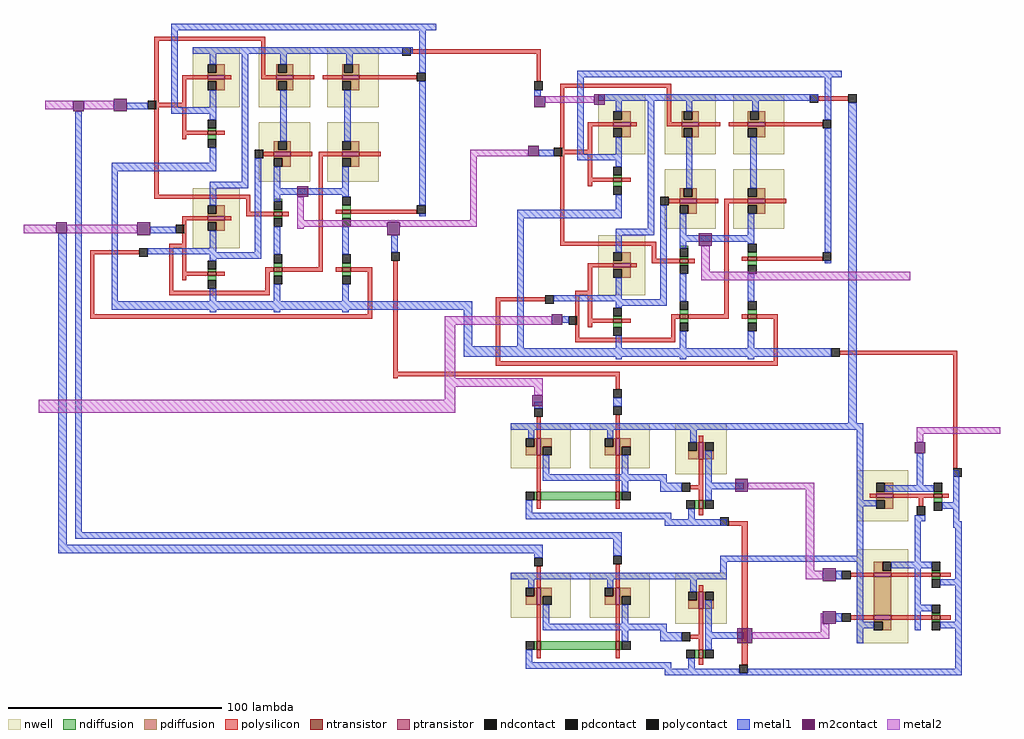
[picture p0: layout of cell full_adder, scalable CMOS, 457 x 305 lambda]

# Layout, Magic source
magic
tech scmos
<< polysilicon >>
rect -13 94 48 96
rect 46 81 48 94
rect 178 72 192 74
rect -21 -55 -19 -3
rect 188 -47 243 -45
rect -21 -57 85 -55
rect -21 -58 -19 -57
rect 83 -63 85 -57
rect 241 -100 243 -47
rect 136 -127 145 -125
rect 142 -192 145 -127
<< polycontact >>
rect -17 93 -13 97
rect 45 77 49 81
rect -136 68 -132 72
rect 174 71 178 75
rect 192 71 196 75
rect 54 46 58 50
rect -123 10 -119 14
rect -22 -3 -18 1
rect 61 -33 65 -29
rect 184 -48 188 -44
rect 82 -67 86 -63
rect 241 -104 245 -100
rect 132 -127 136 -123
rect 141 -196 145 -192
<< metal1 >>
rect 45 74 48 77
rect -146 68 -136 71
rect -178 -136 -174 10
rect -170 -130 -167 67
rect 47 46 54 49
rect -135 10 -123 13
rect -22 1 -19 9
rect -40 -26 16 -22
rect 12 -43 16 -26
rect 58 -32 61 -29
rect 12 -48 38 -43
rect 150 -48 184 -44
rect 82 -69 86 -67
rect 192 -79 196 71
rect 134 -82 199 -79
rect 196 -101 199 -82
rect -170 -133 86 -130
rect -178 -140 49 -136
rect 82 -140 86 -133
rect 132 -144 198 -141
rect 132 -149 135 -144
rect 196 -145 198 -144
rect 186 -152 187 -148
rect 135 -196 141 -194
rect 242 -194 245 -174
rect 145 -196 245 -194
rect 135 -197 245 -196
<< m2contact >>
rect -171 67 -166 72
rect -152 67 -146 73
rect 45 69 50 74
rect 73 70 78 75
rect -179 10 -174 15
rect 42 46 47 51
rect -66 27 -61 32
rect -141 9 -135 15
rect -24 9 -18 15
rect 122 4 128 10
rect 53 -33 58 -28
rect 44 -71 49 -66
rect 223 -93 228 -88
rect 139 -111 145 -105
rect 180 -153 186 -147
rect 180 -173 186 -167
rect 140 -182 147 -175
<< metal2 >>
rect -184 68 -171 72
rect -166 68 -152 72
rect 50 71 73 74
rect 15 46 42 49
rect -66 16 -63 27
rect 15 16 18 46
rect -66 15 18 16
rect -194 10 -179 14
rect -174 10 -141 14
rect -66 13 -24 15
rect -66 12 -63 13
rect -18 13 18 15
rect 123 -8 127 4
rect 123 -12 221 -8
rect 3 -33 53 -29
rect 3 -58 8 -33
rect 3 -62 49 -58
rect 3 -68 8 -62
rect 45 -66 49 -62
rect -187 -74 8 -68
rect 224 -84 263 -81
rect 224 -88 227 -84
rect 145 -110 176 -107
rect 172 -148 176 -110
rect 172 -152 180 -148
rect 179 -173 180 -168
rect 179 -177 183 -173
rect 147 -180 183 -177
use xor  xor_1
transform 1 0 114 0 1 39
box -87 -91 75 47
use xor  xor_0
transform 1 0 -76 0 1 61
box -87 -91 75 47
use and2  and2_0
transform 1 0 70 0 1 -96
box -36 -31 73 27
use and2  and2_1
transform 1 0 70 0 1 -166
box -36 -31 73 27
use or2  or2_0
transform 0 -1 228 1 0 -169
box -13 -17 76 42
<< end >>

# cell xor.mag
magic
tech scmos
<< nwell >>
rect -39 8 -17 36
rect -8 8 16 36
rect 24 8 48 36
rect -8 -27 16 1
rect 24 -27 48 1
rect -39 -58 -17 -30
<< ntransistor >>
rect -32 -5 -28 -3
rect -1 -43 3 -41
rect 31 -42 35 -40
rect -1 -69 3 -67
rect 31 -69 35 -67
rect -32 -71 -28 -69
<< ptransistor >>
rect -32 21 -24 23
rect 0 21 8 23
rect 31 21 39 23
rect -1 -15 7 -13
rect 31 -15 39 -13
rect -32 -45 -24 -43
<< ndiffusion >>
rect -32 -3 -28 -2
rect -32 -7 -28 -5
rect -1 -36 3 -35
rect -1 -41 3 -40
rect -1 -44 3 -43
rect -1 -67 3 -65
rect 31 -40 35 -38
rect 31 -44 35 -42
rect 31 -67 35 -65
rect -32 -69 -28 -68
rect -32 -73 -28 -71
rect -1 -71 3 -69
rect 31 -71 35 -69
<< pdiffusion >>
rect -28 24 -24 28
rect -32 23 -24 24
rect 0 24 1 28
rect 5 24 8 28
rect 0 23 8 24
rect 31 24 32 28
rect 36 24 39 28
rect 31 23 39 24
rect -32 20 -24 21
rect -28 16 -24 20
rect 0 20 8 21
rect 0 16 1 20
rect 5 16 8 20
rect 31 20 39 21
rect 35 16 39 20
rect -1 -12 1 -8
rect 5 -12 7 -8
rect -1 -13 7 -12
rect 35 -12 39 -8
rect 31 -13 39 -12
rect -1 -16 7 -15
rect 3 -20 7 -16
rect -28 -42 -24 -38
rect -32 -43 -24 -42
rect -32 -46 -24 -45
rect -28 -50 -24 -46
rect 31 -16 39 -15
rect 35 -20 39 -16
<< ndcontact >>
rect -32 -2 -28 2
rect -32 -11 -28 -7
rect -1 -40 3 -36
rect -1 -48 3 -44
rect -32 -68 -28 -64
rect -1 -65 3 -61
rect 31 -38 35 -34
rect 31 -48 35 -44
rect 31 -65 35 -61
rect -32 -77 -28 -73
rect -1 -75 3 -71
rect 31 -75 35 -71
<< pdcontact >>
rect -32 24 -28 28
rect 1 24 5 28
rect 32 24 36 28
rect -32 16 -28 20
rect 1 16 5 20
rect 31 16 35 20
rect 1 -12 5 -8
rect 31 -12 35 -8
rect -1 -20 3 -16
rect -32 -42 -28 -38
rect -32 -50 -28 -46
rect 31 -20 35 -16
<< polysilicon >>
rect -57 39 -5 41
rect -57 10 -55 39
rect -7 23 -5 39
rect -44 21 -32 23
rect -24 21 -21 23
rect -7 21 0 23
rect 8 21 18 23
rect 22 21 31 23
rect 39 21 66 23
rect -44 10 -42 21
rect -57 8 -42 10
rect -57 -33 -55 8
rect -44 -3 -42 8
rect -44 -5 -32 -3
rect -28 -5 -24 -3
rect -44 -7 -42 -5
rect -6 -15 -1 -13
rect 7 -15 17 -13
rect 20 -15 31 -13
rect 39 -15 49 -13
rect -57 -35 -12 -33
rect -14 -41 -12 -35
rect -14 -43 -1 -41
rect 3 -43 6 -41
rect -44 -45 -32 -43
rect -24 -45 -21 -43
rect -44 -56 -42 -45
rect -50 -58 -42 -56
rect -87 -61 -64 -59
rect -87 -89 -85 -61
rect -50 -78 -48 -58
rect -44 -69 -42 -58
rect 20 -67 22 -15
rect 28 -42 31 -40
rect 35 -42 66 -40
rect -5 -69 -1 -67
rect 3 -69 22 -67
rect 28 -69 31 -67
rect 35 -69 45 -67
rect -44 -71 -32 -69
rect -28 -71 -24 -69
rect -44 -73 -42 -71
rect -5 -78 -3 -69
rect -50 -80 -3 -78
rect 43 -89 45 -69
rect -87 -91 45 -89
<< polycontact >>
rect 66 20 70 24
rect -10 -16 -6 -12
rect -64 -62 -60 -58
rect 66 -42 70 -38
<< metal1 >>
rect -49 44 75 47
rect -49 8 -46 44
rect -39 33 64 36
rect -31 28 -28 33
rect -31 8 -28 16
rect -49 5 -28 8
rect -31 2 -28 5
rect -31 -18 -28 -11
rect -77 -22 -28 -18
rect -77 -83 -74 -22
rect -16 -27 -13 33
rect 2 28 5 33
rect 33 28 36 33
rect 67 24 70 44
rect 2 -8 5 16
rect 32 -8 35 16
rect -31 -30 -13 -27
rect -31 -38 -28 -30
rect -31 -58 -28 -50
rect -60 -60 -28 -58
rect -10 -60 -7 -16
rect -1 -30 2 -20
rect 31 -30 34 -20
rect -1 -33 34 -30
rect -1 -36 2 -33
rect 31 -34 34 -33
rect 67 -38 70 20
rect 67 -43 70 -42
rect -60 -61 -7 -60
rect -31 -63 -7 -61
rect -1 -61 2 -48
rect 31 -61 34 -48
rect -31 -64 -28 -63
rect -31 -83 -28 -77
rect -1 -83 2 -75
rect 31 -83 34 -75
rect -77 -87 37 -83
rect -31 -88 -28 -87
rect -1 -88 2 -87
rect 31 -88 34 -87
<< end >>

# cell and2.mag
magic
tech scmos
<< nwell >>
rect -36 -4 -8 17
rect 1 -4 29 17
<< ntransistor >>
rect -24 -19 -22 -15
rect 13 -19 15 -15
<< ptransistor >>
rect -24 2 -22 10
rect 13 2 15 10
<< ndiffusion >>
rect -25 -19 -24 -15
rect -22 -19 13 -15
rect 15 -19 16 -15
<< pdiffusion >>
rect -25 6 -24 10
rect -29 2 -24 6
rect -22 6 -17 10
rect -22 2 -21 6
rect 12 6 13 10
rect 8 2 13 6
rect 15 6 20 10
rect 15 2 16 6
<< ndcontact >>
rect -29 -19 -25 -15
rect 16 -19 20 -15
<< pdcontact >>
rect -29 6 -25 10
rect -21 2 -17 6
rect 8 6 12 10
rect 16 2 20 6
<< polysilicon >>
rect -24 10 -22 20
rect 13 10 15 21
rect -24 -15 -22 2
rect 13 -15 15 2
rect -24 -23 -22 -19
rect 13 -23 15 -19
<< polycontact >>
rect -25 20 -21 24
rect 12 21 16 25
<< metal1 >>
rect -25 24 -21 27
rect 12 25 16 27
rect -36 14 41 17
rect -28 10 -25 14
rect 9 10 12 14
rect -21 -7 -18 2
rect 16 -7 19 2
rect -21 -10 37 -7
rect 16 -15 19 -10
rect 34 -11 37 -10
rect 34 -15 41 -11
rect 65 -14 73 -11
rect -29 -25 -26 -19
rect -29 -28 39 -25
rect 36 -31 43 -28
use not  not_0
transform 1 0 53 0 1 2
box -12 -33 12 15
<< end >>

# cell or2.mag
magic
tech scmos
<< nwell >>
rect -13 8 31 32
<< ntransistor >>
rect -2 -7 0 -3
rect 18 -7 20 -3
<< ptransistor >>
rect -2 16 0 24
rect 18 16 20 24
<< ndiffusion >>
rect -3 -7 -2 -3
rect 0 -7 1 -3
rect 17 -7 18 -3
rect 20 -7 21 -3
<< pdiffusion >>
rect -3 20 -2 24
rect -7 16 -2 20
rect 0 16 18 24
rect 20 20 25 24
rect 20 16 21 20
<< ndcontact >>
rect -7 -7 -3 -3
rect 1 -7 5 -3
rect 13 -7 17 -3
rect 21 -7 25 -3
<< pdcontact >>
rect -7 20 -3 24
rect 21 16 25 20
<< polysilicon >>
rect -2 24 0 35
rect 18 24 20 35
rect -2 -3 0 16
rect 18 -3 20 16
rect -2 -12 0 -7
rect 18 -12 20 -7
<< polycontact >>
rect -3 35 1 39
rect 17 35 21 39
<< metal1 >>
rect -3 39 1 42
rect 17 39 21 42
rect -13 29 45 32
rect -6 24 -3 29
rect 22 5 25 16
rect -7 4 47 5
rect -7 2 44 4
rect 2 -3 5 2
rect 22 -3 25 2
rect 68 1 76 4
rect -6 -14 -3 -7
rect 14 -14 17 -7
rect 41 -14 44 -13
rect -6 -17 44 -14
use not  not_0
transform 1 0 56 0 1 17
box -12 -33 12 15
<< end >>

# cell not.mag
magic
tech scmos
<< nwell >>
rect -12 -9 12 15
<< ntransistor >>
rect -1 -25 1 -21
<< ptransistor >>
rect -1 -2 1 6
<< ndiffusion >>
rect -3 -25 -1 -21
rect 1 -25 2 -21
<< pdiffusion >>
rect -2 2 -1 6
rect -6 -2 -1 2
rect 1 2 2 6
rect 1 -2 6 2
<< ndcontact >>
rect -7 -25 -3 -21
rect 2 -25 6 -21
<< pdcontact >>
rect -6 2 -2 6
rect 2 2 6 6
<< polysilicon >>
rect -1 6 1 9
rect -1 -14 1 -2
rect -5 -16 1 -14
rect -1 -21 1 -16
rect -1 -28 1 -25
<< polycontact >>
rect -9 -17 -5 -13
<< metal1 >>
rect -12 12 12 15
rect -5 6 -2 12
rect 2 -13 5 2
rect -12 -17 -9 -13
rect 2 -16 12 -13
rect 2 -21 5 -16
rect -6 -30 -3 -25
rect -12 -33 12 -30
<< end >>
